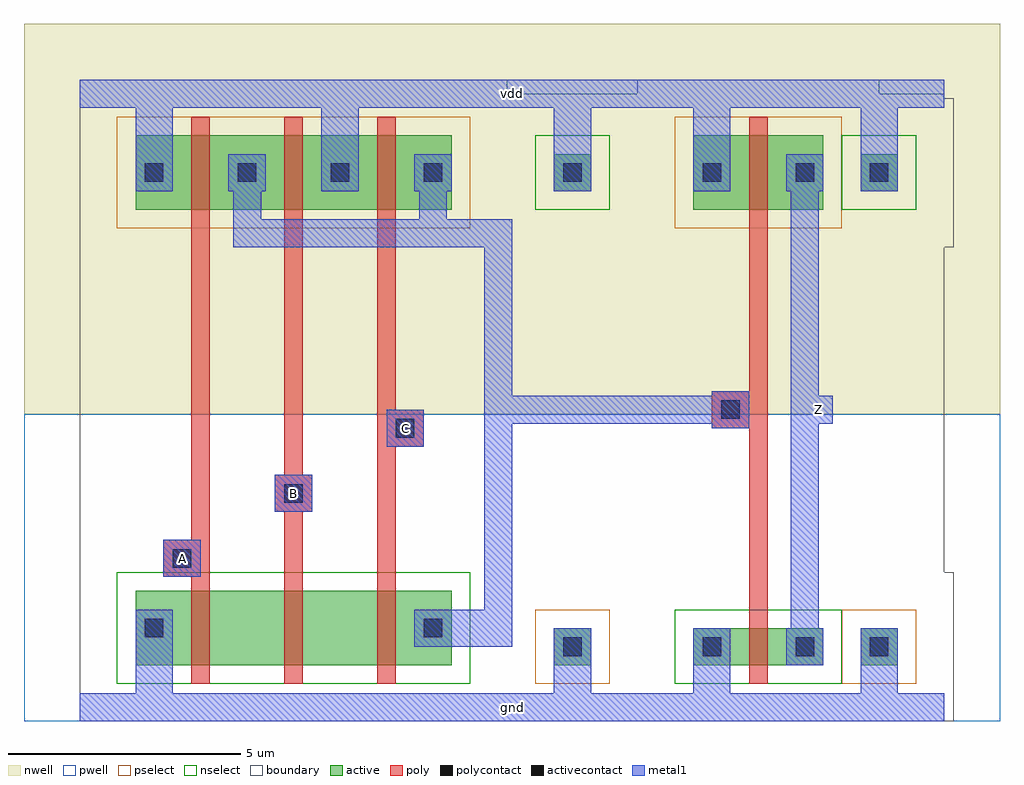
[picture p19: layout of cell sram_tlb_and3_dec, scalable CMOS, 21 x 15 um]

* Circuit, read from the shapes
.subckt sram_tlb_and3_dec A B C Z gnd vdd
M1 sram_tlb_pnand3_0/sram_tlb_nmos_m1_w1_600_sm1_dactive_3/D A gnd gnd nfet w=1.6u l=0.4u
M2 sram_tlb_pnand3_0/sram_tlb_nmos_m1_w1_600_sactive_dactive_4/D B sram_tlb_pnand3_0/sram_tlb_nmos_m1_w1_600_sm1_dactive_3/D gnd nfet w=1.6u l=0.4u
M3 sram_tlb_pinv_1/A C sram_tlb_pnand3_0/sram_tlb_nmos_m1_w1_600_sactive_dactive_4/D gnd nfet w=1.6u l=0.4u
M4 Z sram_tlb_pinv_1/A gnd gnd nfet w=0.8u l=0.4u
M5 sram_tlb_pinv_1/A A vdd vdd pfet w=1.6u l=0.4u
M6 vdd B sram_tlb_pinv_1/A vdd pfet w=1.6u l=0.4u
M7 sram_tlb_pinv_1/A C vdd vdd pfet w=1.6u l=0.4u
M8 Z sram_tlb_pinv_1/A vdd vdd pfet w=1.6u l=0.4u
.ends

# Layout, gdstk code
import gdstk
lib = gdstk.Library(unit=1e-6, precision=1e-09)
def R(c, l, rs):  # rectangles x0, y0, x1, y1
    for r in rs: c.add(gdstk.rectangle(r[:2], r[2:], *l))
def A(c, l, x, y, w, h, nx, ny, dx, dy):  # array of equal rectangles
    R(c, l, [(x+i*dx, y+j*dy, x+i*dx+w, y+j*dy+h) for i in range(nx) for j in range(ny)])
pwell = (41, 0)
nwell = (42, 0)
active = (43, 0)
pselect = (44, 0)
nselect = (45, 0)
poly = (46, 0)
polycontact = (47, 0)
activecontact = (48, 0)
metal1 = (49, 0)
boundary = (63, 0)

sram_tlb_contact_11 = lib.new_cell('sram_tlb_contact_11')
R(sram_tlb_contact_11, nwell, [(-1.2,-1.2,2,2)])
R(sram_tlb_contact_11, active, [(0,0,0.8,0.8)])
R(sram_tlb_contact_11, pselect, [(-0.4,-0.4,1.2,1.2)])
R(sram_tlb_contact_11, activecontact, [(0.2,0.2,0.6,0.6)])
R(sram_tlb_contact_11, metal1, [(0,0,0.8,0.8)])
R(sram_tlb_contact_11, boundary, [(-1.2,-1.2,2,2)])

sram_tlb_pmos_m1_w1_600_ = lib.new_cell('sram_tlb_pmos_m1_w1_600_sm1_dm1')
R(sram_tlb_pmos_m1_w1_600_, nwell, [(-1.2,-1.2,4,2.8)])
R(sram_tlb_pmos_m1_w1_600_, active, [(0,0,2.8,1.6)])
R(sram_tlb_pmos_m1_w1_600_, pselect, [(-0.4,-0.4,3.2,2)])
R(sram_tlb_pmos_m1_w1_600_, poly, [(1.2,-0.4,1.6,2), (1.2,-0.4,1.6,2)])
R(sram_tlb_pmos_m1_w1_600_, metal1, [(0,0.4,0.8,1.2), (2,0.4,2.8,1.2)])
R(sram_tlb_pmos_m1_w1_600_, boundary, [(-1.2,-1.2,4,2.8)])
sram_tlb_pmos_m1_w1_600_.add(gdstk.Reference(sram_tlb_contact_11, (0,0.4)))
sram_tlb_pmos_m1_w1_600_.add(gdstk.Reference(sram_tlb_contact_11, (2,0.4)))
sram_tlb_pmos_m1_w1_600_.add(gdstk.Label('G', (1.4,0.8), layer=46, texttype=0))
sram_tlb_pmos_m1_w1_600_.add(gdstk.Label('S', (0.4,0.8), layer=49, texttype=0))
sram_tlb_pmos_m1_w1_600_.add(gdstk.Label('D', (2.4,0.8), layer=49, texttype=0))

sram_tlb_contact_10 = lib.new_cell('sram_tlb_contact_10')
R(sram_tlb_contact_10, pwell, [(-1.2,-1.2,2,2)])
R(sram_tlb_contact_10, active, [(0,0,0.8,0.8)])
R(sram_tlb_contact_10, nselect, [(-0.4,-0.4,1.2,1.2)])
R(sram_tlb_contact_10, activecontact, [(0.2,0.2,0.6,0.6)])
R(sram_tlb_contact_10, metal1, [(0,0,0.8,0.8)])
R(sram_tlb_contact_10, boundary, [(-1.2,-1.2,2,2)])

sram_tlb_nmos_m1_w1_600_ = lib.new_cell('sram_tlb_nmos_m1_w1_600_sm1_dactive')
R(sram_tlb_nmos_m1_w1_600_, pwell, [(-1.2,-1.2,4,2.8)])
R(sram_tlb_nmos_m1_w1_600_, active, [(0,0,2.8,1.6), (2.1,0.5,2.7,1.1)])
R(sram_tlb_nmos_m1_w1_600_, nselect, [(-0.4,-0.4,3.2,2)])
R(sram_tlb_nmos_m1_w1_600_, poly, [(1.2,-0.4,1.6,2), (1.2,-0.4,1.6,2)])
R(sram_tlb_nmos_m1_w1_600_, metal1, [(0,0.4,0.8,1.2)])
R(sram_tlb_nmos_m1_w1_600_, boundary, [(-1.2,-1.2,4,2.8)])
sram_tlb_nmos_m1_w1_600_.add(gdstk.Reference(sram_tlb_contact_10, (0,0.4)))
sram_tlb_nmos_m1_w1_600_.add(gdstk.Label('G', (1.4,0.8), layer=46, texttype=0))
sram_tlb_nmos_m1_w1_600_.add(gdstk.Label('S', (0.4,0.8), layer=49, texttype=0))
sram_tlb_nmos_m1_w1_600_.add(gdstk.Label('D', (2.4,0.8), layer=43, texttype=0))

c_sram_tlb_nmos_m1_w1_600_ = lib.new_cell('sram_tlb_nmos_m1_w1_600_sactive_dactive')
R(c_sram_tlb_nmos_m1_w1_600_, pwell, [(-1.2,-1.2,4,2.8)])
R(c_sram_tlb_nmos_m1_w1_600_, active, [(0,0,2.8,1.6), (0.1,0.5,0.7,1.1), (2.1,0.5,2.7,1.1)])
R(c_sram_tlb_nmos_m1_w1_600_, nselect, [(-0.4,-0.4,3.2,2)])
R(c_sram_tlb_nmos_m1_w1_600_, poly, [(1.2,-0.4,1.6,2), (1.2,-0.4,1.6,2)])
R(c_sram_tlb_nmos_m1_w1_600_, boundary, [(-1.2,-1.2,4,2.8)])
c_sram_tlb_nmos_m1_w1_600_.add(gdstk.Label('G', (1.4,0.8), layer=46, texttype=0))
c_sram_tlb_nmos_m1_w1_600_.add(gdstk.Label('S', (0.4,0.8), layer=43, texttype=0))
c_sram_tlb_nmos_m1_w1_600_.add(gdstk.Label('D', (2.4,0.8), layer=43, texttype=0))

c_sram_tlb_nmos_m1_w1_600__ = lib.new_cell('sram_tlb_nmos_m1_w1_600_sactive_dm1')
R(c_sram_tlb_nmos_m1_w1_600__, pwell, [(-1.2,-1.2,4,2.8)])
R(c_sram_tlb_nmos_m1_w1_600__, active, [(0,0,2.8,1.6), (0.1,0.5,0.7,1.1)])
R(c_sram_tlb_nmos_m1_w1_600__, nselect, [(-0.4,-0.4,3.2,2)])
R(c_sram_tlb_nmos_m1_w1_600__, poly, [(1.2,-0.4,1.6,2), (1.2,-0.4,1.6,2)])
R(c_sram_tlb_nmos_m1_w1_600__, metal1, [(2,0.4,2.8,1.2)])
R(c_sram_tlb_nmos_m1_w1_600__, boundary, [(-1.2,-1.2,4,2.8)])
c_sram_tlb_nmos_m1_w1_600__.add(gdstk.Reference(sram_tlb_contact_10, (2,0.4)))
c_sram_tlb_nmos_m1_w1_600__.add(gdstk.Label('G', (1.4,0.8), layer=46, texttype=0))
c_sram_tlb_nmos_m1_w1_600__.add(gdstk.Label('S', (0.4,0.8), layer=43, texttype=0))
c_sram_tlb_nmos_m1_w1_600__.add(gdstk.Label('D', (2.4,0.8), layer=49, texttype=0))

sram_tlb_contact_12 = lib.new_cell('sram_tlb_contact_12')
R(sram_tlb_contact_12, nwell, [(-1.2,-1.2,2,2)])
R(sram_tlb_contact_12, active, [(0,0,0.8,0.8)])
R(sram_tlb_contact_12, nselect, [(-0.4,-0.4,1.2,1.2)])
R(sram_tlb_contact_12, activecontact, [(0.2,0.2,0.6,0.6)])
R(sram_tlb_contact_12, metal1, [(0,0,0.8,0.8)])
R(sram_tlb_contact_12, boundary, [(-1.2,-1.2,2,2)])

sram_tlb_contact_13 = lib.new_cell('sram_tlb_contact_13')
R(sram_tlb_contact_13, pwell, [(-1.2,-1.2,2,2)])
R(sram_tlb_contact_13, active, [(0,0,0.8,0.8)])
R(sram_tlb_contact_13, pselect, [(-0.4,-0.4,1.2,1.2)])
R(sram_tlb_contact_13, activecontact, [(0.2,0.2,0.6,0.6)])
R(sram_tlb_contact_13, metal1, [(0,0,0.8,0.8)])
R(sram_tlb_contact_13, boundary, [(-1.2,-1.2,2,2)])

sram_tlb_contact_14 = lib.new_cell('sram_tlb_contact_14')
R(sram_tlb_contact_14, poly, [(0,0,0.8,0.8)])
R(sram_tlb_contact_14, polycontact, [(0.2,0.2,0.6,0.6)])
R(sram_tlb_contact_14, metal1, [(0,0,0.8,0.8)])
R(sram_tlb_contact_14, boundary, [(0,0,0.8,0.8)])

sram_tlb_pnand3 = lib.new_cell('sram_tlb_pnand3')
R(sram_tlb_pnand3, pwell, [(-1.2,-0.3,13.2,6.3)])
R(sram_tlb_pnand3, nwell, [(-1.2,6.3,13.2,14.7)])
A(sram_tlb_pnand3, poly, 2.4, 2.9, 0.4, 7.4, 3, 1, 2, 0)
R(sram_tlb_pnand3, poly, [(2.2,2.8,2.4,3.6), (4.4,4.2,4.6,5), (6.4,5.6,7,6.4)])
R(sram_tlb_pnand3, metal1, [(0,-0.3,12,0.3), (1.2,-0.3,2,1.3), (10.2,0,11,1.3), (7.6,1.3,9,2.1), (8.7,1.3,9.3,10.2), (1.8,2.8,2.6,3.6), (4.2,4.2,5,5), (6.6,5.6,7.4,6.4), (3.3,9.9,3.9,10.5), (3.6,9.9,9,10.5), (7.3,9.9,7.9,10.5), (7.6,9.9,9,10.5), (8.7,9.9,9.3,10.5), (3.3,10.2,3.9,11.5), (7.3,10.2,7.9,11.5), (1.2,11.1,2,13.5), (5.2,11.1,6,13.5), (10.2,11.5,11,13.2), (0,12.9,12,13.5)])
R(sram_tlb_pnand3, boundary, [(0,0,12,13.2), (0,0,12,13.2)])
sram_tlb_pnand3.add(gdstk.Reference(sram_tlb_pmos_m1_w1_600_, (1.2,10.7)))
sram_tlb_pnand3.add(gdstk.Reference(sram_tlb_pmos_m1_w1_600_, (3.2,10.7)))
sram_tlb_pnand3.add(gdstk.Reference(sram_tlb_pmos_m1_w1_600_, (5.2,10.7)))
sram_tlb_pnand3.add(gdstk.Reference(sram_tlb_nmos_m1_w1_600_, (1.2,0.9)))
sram_tlb_pnand3.add(gdstk.Reference(c_sram_tlb_nmos_m1_w1_600_, (3.2,0.9)))
sram_tlb_pnand3.add(gdstk.Reference(c_sram_tlb_nmos_m1_w1_600__, (5.2,0.9)))
sram_tlb_pnand3.add(gdstk.Reference(sram_tlb_contact_12, (10.2,11.1)))
sram_tlb_pnand3.add(gdstk.Reference(sram_tlb_contact_13, (10.2,0.9)))
sram_tlb_pnand3.add(gdstk.Reference(sram_tlb_contact_14, (1.8,2.8)))
sram_tlb_pnand3.add(gdstk.Reference(sram_tlb_contact_14, (4.2,4.2)))
sram_tlb_pnand3.add(gdstk.Reference(sram_tlb_contact_14, (6.6,5.6)))
sram_tlb_pnand3.add(gdstk.Label('A', (2.2,3.2), layer=49, texttype=0))
sram_tlb_pnand3.add(gdstk.Label('B', (4.6,4.6), layer=49, texttype=0))
sram_tlb_pnand3.add(gdstk.Label('C', (7,6), layer=49, texttype=0))
sram_tlb_pnand3.add(gdstk.Label('Z', (9,10.2), layer=49, texttype=0))
sram_tlb_pnand3.add(gdstk.Label('gnd', (6,0), layer=49, texttype=0))
sram_tlb_pnand3.add(gdstk.Label('vdd', (6,13.2), layer=49, texttype=0))

c_sram_tlb_pmos_m1_w1_600_ = lib.new_cell('sram_tlb_pmos_m1_w1_600_sm1_dm1_da_p')
R(c_sram_tlb_pmos_m1_w1_600_, nwell, [(-1.2,-1.2,4,2.8)])
R(c_sram_tlb_pmos_m1_w1_600_, active, [(0,0,2.8,1.6)])
R(c_sram_tlb_pmos_m1_w1_600_, pselect, [(-0.4,-0.4,3.2,2)])
R(c_sram_tlb_pmos_m1_w1_600_, poly, [(1.2,-0.4,1.6,2), (1.2,-0.4,1.6,2)])
R(c_sram_tlb_pmos_m1_w1_600_, metal1, [(0,0.4,0.8,1.2), (2,0.4,2.8,1.2)])
R(c_sram_tlb_pmos_m1_w1_600_, boundary, [(-1.2,-1.2,4,2.8)])
c_sram_tlb_pmos_m1_w1_600_.add(gdstk.Reference(sram_tlb_contact_11, (0,0.4)))
c_sram_tlb_pmos_m1_w1_600_.add(gdstk.Reference(sram_tlb_contact_11, (2,0.4)))
c_sram_tlb_pmos_m1_w1_600_.add(gdstk.Label('G', (1.4,0.8), layer=46, texttype=0))
c_sram_tlb_pmos_m1_w1_600_.add(gdstk.Label('S', (0.4,0.8), layer=49, texttype=0))
c_sram_tlb_pmos_m1_w1_600_.add(gdstk.Label('D', (2.4,0.8), layer=49, texttype=0))

sram_tlb_nmos_m1_w0_800_ = lib.new_cell('sram_tlb_nmos_m1_w0_800_sm1_dm1_da_p')
R(sram_tlb_nmos_m1_w0_800_, pwell, [(-1.2,-1.2,4,2)])
R(sram_tlb_nmos_m1_w0_800_, active, [(0,0,2.8,0.8)])
R(sram_tlb_nmos_m1_w0_800_, nselect, [(-0.4,-0.4,3.2,1.2)])
R(sram_tlb_nmos_m1_w0_800_, poly, [(1.2,-0.4,1.6,1.2), (1.2,-0.4,1.6,1.2)])
R(sram_tlb_nmos_m1_w0_800_, metal1, [(0,0,0.8,0.8), (2,0,2.8,0.8)])
R(sram_tlb_nmos_m1_w0_800_, boundary, [(-1.2,-1.2,4,2)])
sram_tlb_nmos_m1_w0_800_.add(gdstk.Reference(sram_tlb_contact_10, (0,0)))
sram_tlb_nmos_m1_w0_800_.add(gdstk.Reference(sram_tlb_contact_10, (2,0)))
sram_tlb_nmos_m1_w0_800_.add(gdstk.Label('G', (1.4,0.4), layer=46, texttype=0))
sram_tlb_nmos_m1_w0_800_.add(gdstk.Label('S', (0.4,0.4), layer=49, texttype=0))
sram_tlb_nmos_m1_w0_800_.add(gdstk.Label('D', (2.4,0.4), layer=49, texttype=0))

sram_tlb_pinv = lib.new_cell('sram_tlb_pinv')
R(sram_tlb_pinv, pwell, [(-1.2,-0.3,7.8,6.3)])
R(sram_tlb_pinv, nwell, [(-1.2,6.3,7.8,14.7)])
R(sram_tlb_pinv, poly, [(2.4,2.1,2.8,10.3), (2,6,2.4,6.8)])
R(sram_tlb_pinv, metal1, [(0,-0.3,6.6,0.3), (1.2,-0.3,2,0.9), (4.8,0,5.6,1.3), (3.3,0.9,3.9,11.9), (1.6,6,2.4,6.8), (3.6,6.1,4.2,6.7), (1.2,11.1,2,13.5), (4.8,11.5,5.6,13.2), (0,12.9,6.6,13.5)])
R(sram_tlb_pinv, boundary, [(0,0,6.6,13.2), (0,0,6.6,13.2)])
sram_tlb_pinv.add(gdstk.Reference(c_sram_tlb_pmos_m1_w1_600_, (1.2,10.7)))
sram_tlb_pinv.add(gdstk.Reference(sram_tlb_nmos_m1_w0_800_, (1.2,0.9)))
sram_tlb_pinv.add(gdstk.Reference(sram_tlb_contact_12, (4.8,11.1)))
sram_tlb_pinv.add(gdstk.Reference(sram_tlb_contact_13, (4.8,0.9)))
sram_tlb_pinv.add(gdstk.Reference(sram_tlb_contact_14, (1.6,6)))
sram_tlb_pinv.add(gdstk.Label('A', (2,6.4), layer=49, texttype=0))
sram_tlb_pinv.add(gdstk.Label('Z', (3.9,6.4), layer=49, texttype=0))
sram_tlb_pinv.add(gdstk.Label('gnd', (3.3,0), layer=49, texttype=0))
sram_tlb_pinv.add(gdstk.Label('vdd', (3.3,13.2), layer=49, texttype=0))

sram_tlb_and3_dec = lib.new_cell('sram_tlb_and3_dec')
R(sram_tlb_and3_dec, metal1, [(0,-0.3,18.6,0.3), (1.8,2.8,2.6,3.6), (4.2,4.2,5,5), (6.6,5.6,7.4,6.4), (8.7,6.1,9.3,6.7), (9,6.1,14,6.7), (15.6,6.1,16.2,6.7), (8.7,6.4,9.3,10.2), (0,12.9,18.6,13.5)])
R(sram_tlb_and3_dec, boundary, [(0,0,18.6,13.2)])
sram_tlb_and3_dec.add(gdstk.Reference(sram_tlb_pnand3, (0,0)))
sram_tlb_and3_dec.add(gdstk.Reference(sram_tlb_pinv, (12,0)))
sram_tlb_and3_dec.add(gdstk.Label('Z', (15.9,6.4), layer=49, texttype=0))
sram_tlb_and3_dec.add(gdstk.Label('A', (2.2,3.2), layer=49, texttype=0))
sram_tlb_and3_dec.add(gdstk.Label('B', (4.6,4.6), layer=49, texttype=0))
sram_tlb_and3_dec.add(gdstk.Label('C', (7,6), layer=49, texttype=0))
sram_tlb_and3_dec.add(gdstk.Label('gnd', (9.3,0), layer=49, texttype=0))
sram_tlb_and3_dec.add(gdstk.Label('vdd', (9.3,13.2), layer=49, texttype=0))

lib.write_gds('sram_tlb_and3_dec.gds')
